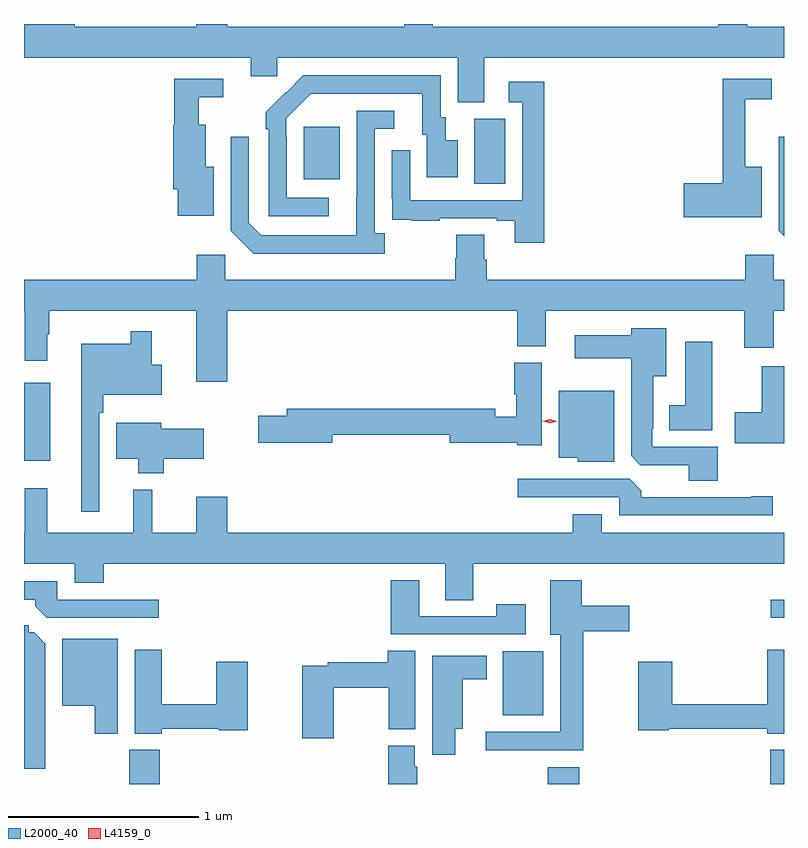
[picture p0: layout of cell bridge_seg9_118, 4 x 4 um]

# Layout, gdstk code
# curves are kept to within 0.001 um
import gdstk
lib = gdstk.Library(unit=1e-6, precision=1e-09)
def R(c, l, rs):  # rectangles x0, y0, x1, y1
    for r in rs: c.add(gdstk.rectangle(r[:2], r[2:], *l))
def P(c, l, *ps):  # polygons
    for p in ps: c.add(gdstk.Polygon(p, *l))
L2000_40 = (2000, 40)
L4159_0 = (4159, 0)

bridge_seg9_118 = lib.new_cell('bridge_seg9_118')
R(bridge_seg9_118, L2000_40, [(632.188,1169.954,632.348,1170.133), (634.391,1169.954,634.556,1170.043), (635.561,1169.954,635.634,1170.133), (634.154,1170.317,634.366,1170.652), (635.565,1170.828,635.634,1170.924), (631.634,1171.655,631.771,1172.065), (634.004,1173.112,634.168,1173.456), (633.107,1173.137,633.295,1173.412)])
P(bridge_seg9_118, L2000_40, [(634.057,1173.776),(635.634,1173.776),(635.634,1173.94),(635.441,1173.94),(635.441,1173.954),(635.288,1173.954),(635.288,1173.94),(633.786,1173.94),(633.786,1173.954),(633.635,1173.954),(633.635,1173.94),(632.704,1173.94),(632.704,1173.954),(632.54,1173.954),(632.54,1173.94),(631.9,1173.94),(631.9,1173.954),(631.634,1173.954),(631.634,1173.776),(632.828,1173.776),(632.828,1173.678),(632.967,1173.678),(632.967,1173.776),(633.917,1173.776),(633.917,1173.541),(634.057,1173.541)],
  [(633.238,1173.039),(633.018,1173.039),(633.018,1173.359),(633.015,1173.359),(633.015,1173.459),(633.144,1173.588),(633.731,1173.588),(633.731,1173.372),(633.755,1173.372),(633.755,1173.147),(633.916,1173.147),(633.916,1173.343),(633.853,1173.343),(633.853,1173.462),(633.828,1173.462),(633.828,1173.684),(633.104,1173.684),(632.907,1173.489),(632.907,1173.401),(632.922,1173.401),(632.922,1172.943),(633.238,1172.943)],
  [(632.632,1173.202),(632.59,1173.202),(632.59,1173.424),(632.554,1173.424),(632.554,1173.569),(632.683,1173.569),(632.683,1173.666),(632.425,1173.666),(632.425,1173.42),(632.42,1173.42),(632.42,1173.084),(632.444,1173.084),(632.444,1172.945),(632.632,1172.945)],
  [(635.518,1173.202),(635.429,1173.202),(635.429,1173.558),(635.569,1173.558),(635.569,1173.666),(635.311,1173.666),(635.311,1173.116),(635.106,1173.116),(635.106,1172.938),(635.518,1172.938)],
  [(634.373,1173.649),(634.185,1173.649),(634.185,1173.543),(634.257,1173.543),(634.257,1173.027),(633.666,1173.027),(633.666,1173.289),(633.57,1173.289),(633.57,1173.034),(633.571,1173.034),(633.571,1172.925),(633.673,1172.925),(633.673,1172.919),(633.821,1172.919),(633.821,1172.931),(634.121,1172.931),(634.121,1172.919),(634.217,1172.919),(634.217,1172.802),(634.373,1172.802)],
  [(633.532,1172.854),(633.48,1172.854),(633.48,1173.402),(633.583,1173.402),(633.583,1173.498),(633.384,1173.498),(633.383,1172.841),(632.883,1172.841),(632.817,1172.907),(632.817,1173.361),(632.721,1173.361),(632.721,1172.865),(632.842,1172.744),(633.532,1172.744)],
  [(635.634,1173.361),(635.607,1173.361),(635.607,1172.865),(635.634,1172.838)],
  [(632.704,1172.444),(634.229,1172.444),(634.229,1172.257),(634.381,1172.257),(634.381,1172.444),(635.426,1172.444),(635.426,1172.25),(635.579,1172.25),(635.579,1172.444),(635.634,1172.444),(635.634,1172.608),(635.58,1172.608),(635.58,1172.74),(635.429,1172.74),(635.429,1172.608),(634.07,1172.608),(634.07,1172.714),(634.057,1172.714),(634.057,1172.846),(633.91,1172.846),(633.91,1172.721),(633.905,1172.721),(633.905,1172.608),(632.694,1172.608),(632.694,1172.74),(632.543,1172.74),(632.543,1172.608),(631.634,1172.608),(631.634,1172.444),(631.639,1172.444),(631.639,1172.181),(631.756,1172.181),(631.756,1172.321),(631.768,1172.321),(631.768,1172.444),(632.54,1172.444),(632.54,1172.07),(632.704,1172.07)],
  [(635.285,1171.728),(634.941,1171.728),(634.941,1171.825),(634.945,1171.825),(634.945,1172.099),(635.014,1172.099),(635.014,1172.353),(634.829,1172.353),(634.829,1172.317),(634.533,1172.317),(634.533,1172.195),(634.829,1172.195),(634.829,1171.681),(634.878,1171.632),(635.132,1171.632),(635.132,1171.549),(635.285,1171.549)],
  [(632.031,1171.907),(632.051,1171.907),(632.051,1172.003),(632.359,1172.003),(632.359,1172.161),(632.307,1172.161),(632.307,1172.338),(632.196,1172.338),(632.196,1172.272),(631.934,1172.272),(631.934,1171.386),(632.031,1171.386)],
  [(635.257,1172.281),(635.114,1172.281),(635.114,1171.948),(635.03,1171.948),(635.03,1171.817),(635.257,1171.817)],
  [(634.36,1172.172),(634.214,1172.172),(634.214,1172.005),(634.226,1172.005),(634.226,1171.887),(634.114,1171.887),(634.114,1171.928),(633.017,1171.928),(633.017,1171.892),(632.868,1171.892),(632.868,1171.75),(633.256,1171.75),(633.256,1171.792),(633.875,1171.792),(633.875,1171.75),(634.23,1171.75),(634.23,1171.736),(634.36,1171.736)],
  [(635.634,1172.152),(635.516,1172.152),(635.516,1171.911),(635.376,1171.911),(635.376,1171.748),(635.634,1171.748)],
  [(634.741,1172.023),(634.448,1172.023),(634.448,1171.67),(634.548,1171.67),(634.548,1171.649),(634.741,1171.649)],
  [(632.369,1171.667),(632.581,1171.667),(632.581,1171.825),(632.356,1171.825),(632.356,1171.855),(632.12,1171.855),(632.12,1171.667),(632.234,1171.667),(632.234,1171.589),(632.369,1171.589)],
  [(635.575,1171.469),(635.462,1171.469),(635.462,1171.464),(634.883,1171.464),(634.883,1171.498),(634.821,1171.56),(634.233,1171.56),(634.233,1171.464),(634.767,1171.464),(634.767,1171.368),(635.575,1171.368)],
  [(631.639,1171.51),(631.639,1171.276),(631.634,1171.276),(631.634,1171.112),(631.901,1171.112),(631.901,1171.013),(632.054,1171.013),(632.054,1171.112),(633.851,1171.112),(633.851,1170.922),(633.999,1170.922),(633.999,1171.112),(635.634,1171.112),(635.634,1171.276),(634.675,1171.276),(634.675,1171.375),(634.523,1171.375),(634.523,1171.276),(632.704,1171.276),(632.704,1171.465),(632.54,1171.465),(632.54,1171.276),(632.31,1171.276),(632.31,1171.504),(632.21,1171.504),(632.21,1171.276),(631.757,1171.276),(631.757,1171.51)],
  [(634.276,1170.901),(634.12,1170.901),(634.12,1170.837),(633.715,1170.837),(633.715,1171.027),(633.563,1171.027),(633.563,1170.741),(634.276,1170.741)],
  [(634.578,1170.758),(634.819,1170.758),(634.819,1170.892),(634.57,1170.892),(634.57,1171.027),(634.403,1171.027),(634.403,1170.74),(634.457,1170.74),(634.457,1170.228),(634.065,1170.228),(634.065,1170.131),(634.578,1170.131)],
  [(632.344,1170.924),(631.809,1170.924),(631.809,1171.02),(631.634,1171.02),(631.634,1170.924),(631.694,1170.924),(631.694,1170.89),(631.755,1170.828),(632.344,1170.828)],
  [(631.747,1170.693),(631.687,1170.753),(631.659,1170.753),(631.659,1170.79),(631.634,1170.79),(631.634,1170.663),(631.635,1170.663),(631.635,1170.563),(631.634,1170.563),(631.634,1170.035),(631.747,1170.035)],
  [(632.128,1170.718),(631.835,1170.718),(631.835,1170.365),(632.006,1170.365),(632.006,1170.219),(632.128,1170.219)],
  [(635.634,1170.661),(635.546,1170.661),(635.546,1170.374),(635.045,1170.374),(635.045,1170.598),(634.867,1170.598),(634.867,1170.238),(635.028,1170.238),(635.028,1170.246),(635.546,1170.246),(635.546,1170.218),(635.634,1170.218)],
  [(632.358,1170.246),(632.658,1170.246),(632.658,1170.238),(632.812,1170.238),(632.812,1170.598),(632.647,1170.598),(632.647,1170.374),(632.358,1170.374),(632.358,1170.661),(632.216,1170.661),(632.216,1170.218),(632.358,1170.218)],
  [(633.264,1170.46),(633.553,1170.46),(633.553,1170.241),(633.694,1170.241),(633.694,1170.656),(633.548,1170.656),(633.548,1170.596),(633.232,1170.596),(633.232,1170.576),(633.098,1170.576),(633.098,1170.195),(633.264,1170.195)],
  [(633.904,1170.245),(633.943,1170.245),(633.943,1170.506),(634.069,1170.506),(634.069,1170.628),(633.782,1170.628),(633.782,1170.108),(633.904,1170.108)],
  [(633.704,1170.045),(633.691,1170.045),(633.691,1170.156),(633.551,1170.156),(633.551,1169.954),(633.704,1169.954)])
P(bridge_seg9_118, L4159_0, [(634.403,1171.853),(634.364,1171.862),(634.364,1171.862),(634.364,1171.863),(634.402,1171.873),(634.441,1171.863),(634.441,1171.863),(634.441,1171.863)])

lib.write_gds('bridge_seg9_118.gds')
